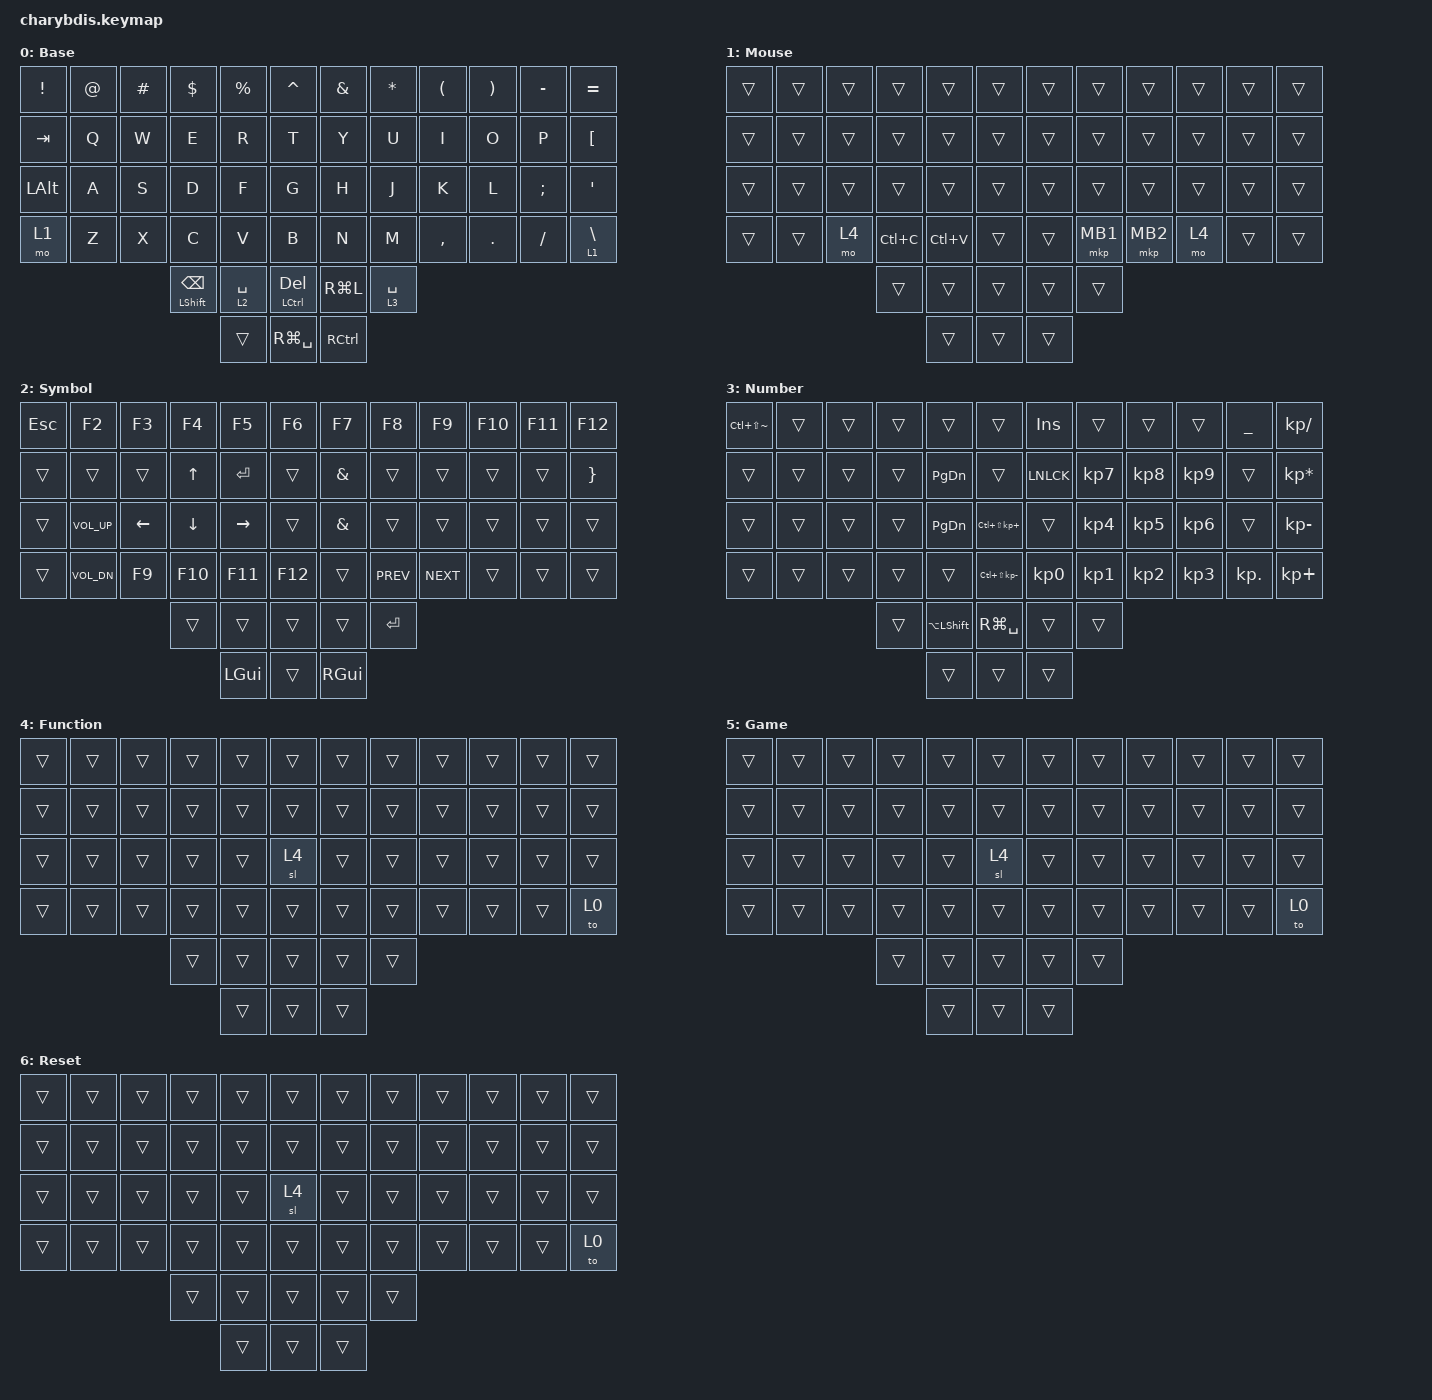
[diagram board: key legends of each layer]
#define ZMK_POINTING_DEFAULT_MOVE_VAL 450

#include <behaviors.dtsi>
#include <dt-bindings/zmk/keys.h>
#include <dt-bindings/zmk/pointing.h>

#define BASE 0
#define MOUSE 1
#define SYMBOL 2
#define NUMBER 3
#define FUNCTION 4
#define GAME 5
#define RESET 6

#define KEYS_L 0 1 2 3 4 10 11 12 13 14 20 21 22 23 24  
#define KEYS_R 5 6 7 8 9 15 16 17 18 19 25 26 27 28 29
#define THUMBS 30 31 32 33 34 35  

&sk {
  release-after-ms = <600>;
  quick-release;
};

&sl {
  ignore-modifiers;
};

&mt {
  flavor = "tap-preferred";
};

&lt {
  flavor = "balanced";
  tapping-term-ms = <200>;
  quick-tap-ms = <175>;
};

&caps_word {
  /delete-property/ ignore-modifiers;
};

/ {
  behaviors {
    hml: hml {
      compatible = "zmk,behavior-hold-tap";
      #binding-cells = <2>;
      flavor = "balanced";
      tapping-term-ms = <2000>;
      quick-tap-ms = <175>;
      require-prior-idle-ms = <250>;
      hold-trigger-key-positions = <KEYS_R THUMBS>;
      hold-trigger-on-release;
      bindings =
        <&kp>,
        <&kp>;
    };

    hmr: hmr {
      compatible = "zmk,behavior-hold-tap";
      #binding-cells = <2>;
      flavor = "balanced";
      tapping-term-ms = <2000>;
      quick-tap-ms = <175>;
      require-prior-idle-ms = <250>;
      hold-trigger-key-positions = <KEYS_L THUMBS>;
      hold-trigger-on-release;
      bindings =
        <&kp>,
        <&kp>;
    };
    hml_s: hml_s {
      compatible = "zmk,behavior-hold-tap";
      #binding-cells = <2>;
      flavor = "balanced";
      tapping-term-ms = <2000>;
      quick-tap-ms = <175>;
      require-prior-idle-ms = <0>;
      hold-trigger-key-positions = <KEYS_R THUMBS>;
      hold-trigger-on-release;
      bindings =
        <&kp>,
        <&kp>;
    };

    hmr_s: hmr_s {
      compatible = "zmk,behavior-hold-tap";
      #binding-cells = <2>;
      flavor = "balanced";
      tapping-term-ms = <2000>;
      quick-tap-ms = <175>;
      require-prior-idle-ms = <0>;
      hold-trigger-key-positions = <KEYS_L THUMBS>;
      hold-trigger-on-release;
      bindings =
        <&kp>,
        <&kp>;
    };


    smart_shift: smart_shift {
      compatible = "zmk,behavior-mod-morph";
      #binding-cells = <0>;
      bindings = <&sk LSHIFT>, <&caps_word>;
      mods = <(MOD_LSFT)>;
    };
  };

  combos {
    compatible = "zmk,combos";
    timeout-ms = <20>;
    require-prior-idle-ms = <250>;

    combo_reset_layer_left {
      key-positions = <20 24>;
      bindings = <&to RESET>;
    };
    combo_reset_layer_right {
      key-positions = <25 29>;
      bindings = <&to RESET>;
    };
    combo_reset_central {
      key-positions = <32 33>;
      bindings = <&bootloader>;
      require-prior-idle-ms = <2000>;
    };
    combo_normal {
      key-positions = <7 8>;
      bindings = <&to BASE>;
    };
    combo_fn {
      key-positions = <27 28>;
      bindings = <&sl FUNCTION>;
    };
    combo_genshin {
      key-positions = <5 9>;
      bindings = <&to GAME>;
    };
    combo_esc {
      key-positions = <1 2>;
      bindings = <&kp ESCAPE>;
    };
    combo_tab {
      key-positions = <2 3>;
      bindings = <&kp TAB>;
    };
    combo_cdel {
      key-positions = <11 12>;
      bindings = <&kp LC(BACKSPACE)>;
    };
    combo_unlock {
      key-positions = <0 4>;
      bindings = <&studio_unlock>;
    };
  };
  chosen {
    zmk,physical-layout = &charybdis_6col_layout;
  };

  keymap {
    compatible = "zmk,keymap";

    Base {
        label = "Base";
        display-name = "Base";
        bindings = <
        // ╭─────────────┬─────────────┬─────────────┬─────────────┬─────────────┬─────────────╮   ╭─────────────┬─────────────┬─────────────┬─────────────┬─────────────┬─────────────────╮
               &kp EXCL       &kp AT       &kp HASH     &kp DLLR     &kp PERCENT     &kp CARET      &kp AMPERSAND  &kp ASTERISK    &kp LPAR     &kp RPAR       &kp MINUS       &kp EQUAL
        // ├─────────────┼─────────────┼─────────────┼─────────────┼─────────────┼─────────────┤   ├─────────────┼─────────────┼─────────────┼─────────────┼─────────────┼─────────────────┤
               &kp TAB        &kp Q         &kp W         &kp E         &kp R         &kp T             &kp Y         &kp U         &kp I         &kp O         &kp P      &kp LEFT_BRACKET
        // ├─────────────┼─────────────┼─────────────┼─────────────┼─────────────┼─────────────┤   ├─────────────┼─────────────┼─────────────┼─────────────┼─────────────┼─────────────────┤
             &kp LEFT_ALT     &kp A         &kp S         &kp D         &kp F         &kp G             &kp H         &kp J         &kp K         &kp L       &kp SEMI        &kp APOS
        // ├─────────────┼─────────────┼─────────────┼─────────────┼─────────────┼─────────────┤   ├─────────────┼─────────────┼─────────────┼─────────────┼─────────────┼─────────────────┤
                &mo 1         &kp Z         &kp X         &kp C         &kp V         &kp B             &kp N         &kp M      &kp COMMA      &kp DOT       &kp FSLH        &lt 1 BSLH
        // ╰─────────────┴─────────────┼─────────────┼─────────────┼─────────────┼─────────────┤   ├─────────────┼─────────────┼─────────────┼─────────────┼─────────────┴─────────────────╯
                                                      &mt LSHFT BSPC &lt 2 SPACE   &mt LCTRL DEL     &kp RG(L)     &lt 3 SPACE
        //                                           ╰─────────────┤─────────────┤─────────────┤   ├─────────────┼─────────────╯
                                                                        &trans     &kp RG(SPACE)       &kp RCTRL    
        //                                                         ╰─────────────┴─────────────╯   ╰─────────────╯
        >;
    };

    Mouse {
      label = "Mouse";
      display-name = "Mouse";
      bindings = <
        // ╭─────────────┬─────────────┬─────────────┬─────────────┬─────────────┬─────────────╮   ╭─────────────┬─────────────┬─────────────┬─────────────┬─────────────┬─────────────────╮
                &trans        &trans        &trans       &trans        &trans         &trans            &trans       &trans         &trans       &trans         &trans         &trans
        // ├─────────────┼─────────────┼─────────────┼─────────────┼─────────────┼─────────────┤   ├─────────────┼─────────────┼─────────────┼─────────────┼─────────────┼─────────────────┤
                &trans        &trans        &trans       &trans        &trans         &trans            &trans       &trans         &trans       &trans         &trans         &trans
        // ├─────────────┼─────────────┼─────────────┼─────────────┼─────────────┼─────────────┤   ├─────────────┼─────────────┼─────────────┼─────────────┼─────────────┼─────────────────┤
                &trans        &trans        &trans       &trans        &trans         &trans            &trans       &trans         &trans       &trans         &trans         &trans
        // ├─────────────┼─────────────┼─────────────┼─────────────┼─────────────┼─────────────┤   ├─────────────┼─────────────┼─────────────┼─────────────┼─────────────┼─────────────────┤
                &trans       &trans         &mo 4       &kp LC(C)     &kp LC(V)       &trans            &trans       &mkp MB1      &mkp MB2       &mo 4         &trans         &trans
        // ╰─────────────┴─────────────┼─────────────┼─────────────┼─────────────┼─────────────┤   ├─────────────┼─────────────┼─────────────┼─────────────┼─────────────┴─────────────────╯
                                                           &trans      &trans         &trans            &trans       &trans
        //                                           ╰─────────────┤─────────────┤─────────────┤   ├─────────────┼─────────────╯
                                                                        &trans         &trans          &trans
         //                                                         ╰─────────────┴─────────────╯   ╰─────────────╯
      >;
    };

    Sym {
      label = "Symbol";
      display-name = "Symbol";
      bindings = <
      // ╭─────────────┬─────────────┬─────────────┬─────────────┬─────────────┬─────────────╮   ╭─────────────┬─────────────┬─────────────┬─────────────┬─────────────┬─────────────╮
             &kp ESC        &kp F2        &kp F3       &kp F4         &kp F5        &kp F6           &kp F7        &kp F8         &kp F9       &kp F10       &kp F11       &kp F12
      // ├─────────────┼─────────────┼─────────────┼─────────────┼─────────────┼─────────────┤   ├─────────────┼─────────────┼─────────────┼─────────────┼─────────────┼─────────────┤
             &trans         &trans         &trans       &kp UP      &kp ENTER       &trans        &kp AMPERSAND     &trans        &trans       &trans       &trans   &kp RIGHT_BRACE
      // ├─────────────┼─────────────┼─────────────┼─────────────┼─────────────┼─────────────┤   ├─────────────┼─────────────┼─────────────┼─────────────┼─────────────┼─────────────┤
             &trans      &kp C_VOL_UP    &kp LEFT      &kp DOWN      &kp RIGHT      &trans        &kp AMPERSAND    &trans         &trans       &trans        &trans         &trans
      // ├─────────────┼─────────────┼─────────────┼─────────────┼─────────────┼─────────────┤   ├─────────────┼─────────────┼─────────────┼─────────────┼─────────────┼─────────────┤
              &trans     &kp C_VOL_DN     &kp F9       &kp F10       &kp F11       &kp F12           &trans       &kp C_PREV    &kp C_NEXT      &trans       &trans         &trans
      // ╰─────────────┴─────────────┼─────────────┼─────────────┼─────────────┼─────────────┤   ├─────────────┼─────────────┼─────────────┼─────────────┼─────────────┴─────────────╯
                                                        &trans       &trans        &trans            &trans       &kp ENTER    
      //                                           ╰─────────────┤─────────────┤─────────────┤   ├─────────────┼─────────────╯
                                                                    &kp LGUI       &trans            &kp RGUI 
      //                                                         ╰─────────────┴─────────────╯   ╰─────────────╯
      >;
    };

    Num {
      label = "Number";
      display-name = "Number";
      bindings = <
      // ╭─────────────┬─────────────┬─────────────┬─────────────┬─────────────┬─────────────╮   ╭─────────────┬─────────────┬─────────────┬─────────────┬─────────────┬─────────────╮
        &kp LC(LS(TILDE))    &trans         &trans       &trans         &trans       &trans           &kp INS       &trans        &trans        &trans      &kp UNDER    &kp KP_SLASH
      // ├─────────────┼─────────────┼─────────────┼─────────────┼─────────────┼─────────────┤   ├─────────────┼─────────────┼─────────────┼─────────────┼─────────────┼─────────────┤
             &trans        &trans         &trans         &trans       &kp PG_DN     &trans          &kp LNLCK     &kp KP_N7     &kp KP_N8     &kp KP_N9       &trans    &kp KP_ASTERISK
      // ├─────────────┼─────────────┼─────────────┼─────────────┼─────────────┼─────────────┤   ├─────────────┼─────────────┼─────────────┼─────────────┼─────────────┼─────────────┤
             &trans        &trans         &trans       &trans       &kp PG_DN   &kp LC(LS(KP_PLUS))    &trans     &kp KP_N4     &kp KP_N5     &kp KP_N6       &trans     &kp KP_MINUS
      // ├─────────────┼─────────────┼─────────────┼─────────────┼─────────────┼─────────────┤   ├─────────────┼─────────────┼─────────────┼─────────────┼─────────────┼─────────────┤
             &trans        &trans        &trans        &trans         &trans   &kp LC(LS(KP_MINUS)) &kp KP_N0     &kp KP_N1     &kp KP_N2     &kp KP_N3    &kp KP_DOT    &kp KP_PLUS
      // ╰─────────────┴─────────────┼─────────────┼─────────────┼─────────────┼─────────────┤   ├─────────────┼─────────────┼─────────────┼─────────────┼─────────────┴─────────────╯
                                                        &trans    &kp LA(LSHFT) &kp RG(SPACE)        &trans        &trans    
      //                                           ╰─────────────┤─────────────┤─────────────┤   ├─────────────┼─────────────╯
                                                                      &trans       &trans            &trans
      //                                                         ╰─────────────┴─────────────╯   ╰─────────────╯
      >;
    };

    Fun {
      label = "Function";
      display-name = "Function";
      bindings = <
      // ╭─────────────┬─────────────┬─────────────┬─────────────┬─────────────┬─────────────╮   ╭─────────────┬─────────────┬─────────────┬─────────────┬─────────────┬─────────────╮
             &trans        &trans         &trans       &trans         &trans       &trans           &trans         &trans         &trans        &trans        &trans        &trans
      // ├─────────────┼─────────────┼─────────────┼─────────────┼─────────────┼─────────────┤   ├─────────────┼─────────────┼─────────────┼─────────────┼─────────────┼─────────────┤
             &trans        &trans         &trans       &trans         &trans       &trans           &trans         &trans         &trans        &trans        &trans        &trans
      // ├─────────────┼─────────────┼─────────────┼─────────────┼─────────────┼─────────────┤   ├─────────────┼─────────────┼─────────────┼─────────────┼─────────────┼─────────────┤
             &trans        &trans         &trans       &trans         &trans        &sl 4           &trans         &trans         &trans        &trans        &trans        &trans
      // ├─────────────┼─────────────┼─────────────┼─────────────┼─────────────┼─────────────┤   ├─────────────┼─────────────┼─────────────┼─────────────┼─────────────┼─────────────┤
             &trans        &trans         &trans       &trans         &trans       &trans           &trans         &trans         &trans        &trans        &trans        &to 0
      // ╰─────────────┴─────────────┼─────────────┼─────────────┼─────────────┼─────────────┤   ├─────────────┼─────────────┼─────────────┼─────────────┼─────────────┴─────────────╯
                                                        &trans       &trans         &trans            &trans        &trans    
      //                                           ╰─────────────┤─────────────┤─────────────┤   ├─────────────┼─────────────╯
                                                                      &trans        &trans            &trans
      //                                                         ╰─────────────┴─────────────╯   ╰─────────────╯
      >;
    };

    Button {
      label = "Game";
      display-name = "Game";
      bindings = <
      // ╭─────────────┬─────────────┬─────────────┬─────────────┬─────────────┬─────────────╮   ╭─────────────┬─────────────┬─────────────┬─────────────┬─────────────┬─────────────╮
             &trans        &trans         &trans       &trans         &trans       &trans           &trans         &trans         &trans        &trans        &trans        &trans
      // ├─────────────┼─────────────┼─────────────┼─────────────┼─────────────┼─────────────┤   ├─────────────┼─────────────┼─────────────┼─────────────┼─────────────┼─────────────┤
             &trans        &trans         &trans       &trans         &trans       &trans           &trans         &trans         &trans        &trans        &trans        &trans
      // ├─────────────┼─────────────┼─────────────┼─────────────┼─────────────┼─────────────┤   ├─────────────┼─────────────┼─────────────┼─────────────┼─────────────┼─────────────┤
             &trans        &trans         &trans       &trans         &trans        &sl 4           &trans         &trans         &trans        &trans        &trans        &trans
      // ├─────────────┼─────────────┼─────────────┼─────────────┼─────────────┼─────────────┤   ├─────────────┼─────────────┼─────────────┼─────────────┼─────────────┼─────────────┤
             &trans        &trans         &trans       &trans         &trans       &trans           &trans         &trans         &trans        &trans        &trans        &to 0
      // ╰─────────────┴─────────────┼─────────────┼─────────────┼─────────────┼─────────────┤   ├─────────────┼─────────────┼─────────────┼─────────────┼─────────────┴─────────────╯
                                                        &trans       &trans         &trans            &trans        &trans    
      //                                           ╰─────────────┤─────────────┤─────────────┤   ├─────────────┼─────────────╯
                                                                      &trans        &trans            &trans
      //                                                         ╰─────────────┴─────────────╯   ╰─────────────╯
      >;
    };

    Reset {
      label = "Reset";
      display-name = "Reset";
      bindings = <
      // ╭─────────────┬─────────────┬─────────────┬─────────────┬─────────────┬─────────────╮   ╭─────────────┬─────────────┬─────────────┬─────────────┬─────────────┬─────────────╮
             &trans        &trans         &trans       &trans         &trans       &trans           &trans         &trans         &trans        &trans        &trans        &trans
      // ├─────────────┼─────────────┼─────────────┼─────────────┼─────────────┼─────────────┤   ├─────────────┼─────────────┼─────────────┼─────────────┼─────────────┼─────────────┤
             &trans        &trans         &trans       &trans         &trans       &trans           &trans         &trans         &trans        &trans        &trans        &trans
      // ├─────────────┼─────────────┼─────────────┼─────────────┼─────────────┼─────────────┤   ├─────────────┼─────────────┼─────────────┼─────────────┼─────────────┼─────────────┤
             &trans        &trans         &trans       &trans         &trans        &sl 4           &trans         &trans         &trans        &trans        &trans        &trans
      // ├─────────────┼─────────────┼─────────────┼─────────────┼─────────────┼─────────────┤   ├─────────────┼─────────────┼─────────────┼─────────────┼─────────────┼─────────────┤
             &trans        &trans         &trans       &trans         &trans       &trans           &trans         &trans         &trans        &trans        &trans        &to 0
      // ╰─────────────┴─────────────┼─────────────┼─────────────┼─────────────┼─────────────┤   ├─────────────┼─────────────┼─────────────┼─────────────┼─────────────┴─────────────╯
                                                        &trans       &trans         &trans            &trans        &trans    
      //                                           ╰─────────────┤─────────────┤─────────────┤   ├─────────────┼─────────────╯
                                                                      &trans        &trans            &trans
      //                                                         ╰─────────────┴─────────────╯   ╰─────────────╯
      >;
    };
  };
};

